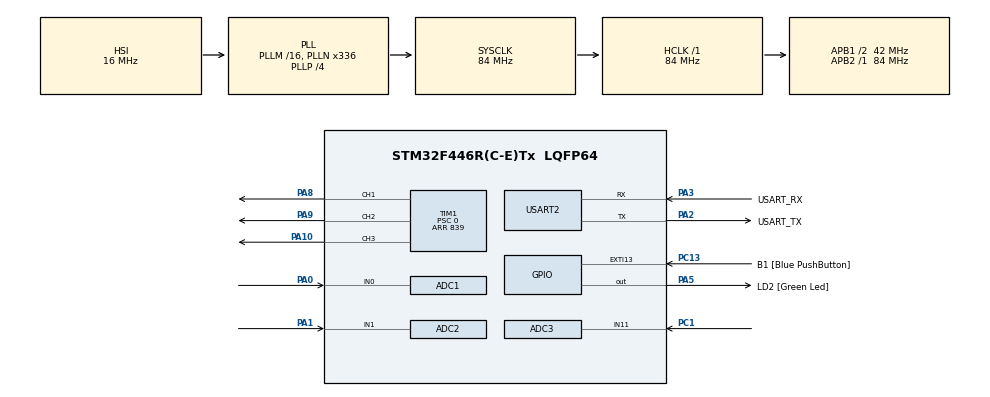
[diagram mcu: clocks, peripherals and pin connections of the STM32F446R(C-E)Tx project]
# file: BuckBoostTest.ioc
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ADC1.Channel-0\#ChannelRegularConversion=ADC_CHANNEL_0
ADC1.ContinuousConvMode=DISABLE
ADC1.DMAAccessMode=ADC_DMAACCESSMODE_2
ADC1.DMAContinuousRequests=ENABLE
ADC1.ExternalTrigConv=ADC_EXTERNALTRIGCONV_T1_CC1
ADC1.Mode=ADC_DUALMODE_REGSIMULT
ADC1.NbrOfConversion=1
ADC1.NbrOfConversionFlag=1
ADC1.Rank-0\#ChannelRegularConversion=1
ADC1.SamplingTime-0\#ChannelRegularConversion=ADC_SAMPLETIME_28CYCLES
ADC1.ScanConvMode=DISABLE
ADC1.TwoSamplingDelay=ADC_TWOSAMPLINGDELAY_5CYCLES
ADC1.master=1
ADC2.Channel-0\#ChannelRegularConversion=ADC_CHANNEL_1
ADC2.DMAAccessMode=ADC_DMAACCESSMODE_2
ADC2.Mode=ADC_DUALMODE_REGSIMULT
ADC2.NbrOfConversionFlag=1
ADC2.Rank-0\#ChannelRegularConversion=1
ADC2.SamplingTime-0\#ChannelRegularConversion=ADC_SAMPLETIME_28CYCLES
ADC3.Channel-0\#ChannelRegularConversion=ADC_CHANNEL_11
ADC3.ContinuousConvMode=DISABLE
ADC3.NbrOfConversionFlag=1
ADC3.Rank-0\#ChannelRegularConversion=1
ADC3.SamplingTime-0\#ChannelRegularConversion=ADC_SAMPLETIME_480CYCLES
Dma.ADC1.0.Direction=DMA_PERIPH_TO_MEMORY
Dma.ADC1.0.FIFOMode=DMA_FIFOMODE_DISABLE
Dma.ADC1.0.Instance=DMA2_Stream0
Dma.ADC1.0.MemDataAlignment=DMA_MDATAALIGN_WORD
Dma.ADC1.0.MemInc=DMA_MINC_ENABLE
Dma.ADC1.0.Mode=DMA_CIRCULAR
Dma.ADC1.0.PeriphDataAlignment=DMA_PDATAALIGN_WORD
Dma.ADC1.0.PeriphInc=DMA_PINC_DISABLE
Dma.ADC1.0.Priority=DMA_PRIORITY_LOW
Dma.Request0=ADC1
Mcu.Family=STM32F4
Mcu.Name=STM32F446R(C-E)Tx
Mcu.Package=LQFP64
NVIC.DMA2_Stream0_IRQn=true\:0\:0\:false\:false\:true\:false\:true\:true
NVIC.PriorityGroup=NVIC_PRIORITYGROUP_0
PA0-WKUP.Signal=ADCx_IN0
PA1.Signal=ADCx_IN1
PA10.Signal=S_TIM1_CH3
PA13.GPIO_Label=TMS
PA13.Mode=Serial_Wire
PA13.Signal=SYS_JTMS-SWDIO
PA14.GPIO_Label=TCK
PA14.Mode=Serial_Wire
PA14.Signal=SYS_JTCK-SWCLK
PA2.GPIO_Label=USART_TX
PA2.Mode=Asynchronous
PA2.Signal=USART2_TX
PA3.GPIO_Label=USART_RX
PA3.Mode=Asynchronous
PA3.Signal=USART2_RX
PA5.GPIO_Label=LD2 [Green Led]
PA5.Signal=GPIO_Output
PA8.Signal=S_TIM1_CH1
PA9.Signal=S_TIM1_CH2
PB3.GPIO_Label=SWO
PB3.Signal=SYS_JTDO-SWO
PC1.Signal=ADCx_IN11
PC13.GPIO_Label=B1 [Blue PushButton]
PC13.GPIO_ModeDefaultEXTI=GPIO_MODE_IT_FALLING
PC13.Signal=GPXTI13
PC14-OSC32_IN.Mode=LSE-External-Oscillator
PC14-OSC32_IN.Signal=RCC_OSC32_IN
PC15-OSC32_OUT.Mode=LSE-External-Oscillator
PC15-OSC32_OUT.Signal=RCC_OSC32_OUT
PH0-OSC_IN.Mode=HSE-External-Oscillator
PH0-OSC_IN.Signal=RCC_OSC_IN
PH1-OSC_OUT.Mode=HSE-External-Oscillator
PH1-OSC_OUT.Signal=RCC_OSC_OUT
ProjectManager.HeapSize=0x200
ProjectManager.StackSize=0x400
ProjectManager.TargetToolchain=STM32CubeIDE
RCC.48MHZClocksFreq_Value=84000000
RCC.AHBFreq_Value=84000000
RCC.APB1CLKDivider=RCC_HCLK_DIV2
RCC.APB1Freq_Value=42000000
RCC.APB1TimFreq_Value=84000000
RCC.APB2Freq_Value=84000000
RCC.APB2TimFreq_Value=84000000
RCC.CortexFreq_Value=84000000
RCC.FLatency-AdvancedSettings=FLASH_LATENCY_2
RCC.HCLKFreq_Value=84000000
RCC.HSE_VALUE=8000000
RCC.HSI_VALUE=16000000
RCC.PLLN=336
RCC.PLLP=RCC_PLLP_DIV4
RCC.SYSCLKFreq_VALUE=84000000
RCC.SYSCLKSource=RCC_SYSCLKSOURCE_PLLCLK
RCC.USBFreq_Value=168000000
RCC.VCOOutputFreq_Value=336000000
SH.ADCx_IN0.0=ADC1_IN0,IN0
SH.ADCx_IN1.0=ADC2_IN1,IN1
SH.ADCx_IN11.0=ADC3_IN11,IN11
SH.S_TIM1_CH1.0=TIM1_CH1,PWM Generation1 CH1
SH.S_TIM1_CH2.0=TIM1_CH2,PWM Generation2 CH2
SH.S_TIM1_CH3.0=TIM1_CH3,PWM Generation3 CH3
TIM1.Channel-Output\ Compare4\ No\ Output=TIM_CHANNEL_4
TIM1.Channel-PWM\ Generation1\ CH1=TIM_CHANNEL_1
TIM1.Channel-PWM\ Generation2\ CH2=TIM_CHANNEL_2
TIM1.Channel-PWM\ Generation3\ CH3=TIM_CHANNEL_3
TIM1.OC4Preload=DISABLE
TIM1.OCMode_4=TIM_OCMODE_ACTIVE
TIM1.Period=839
TIM1.Prescaler=0
TIM1.Pulse-Output\ Compare4\ No\ Output=420
TIM1.TIM_MasterOutputTrigger=TIM_TRGO_OC1REF
TIM1.TIM_MasterSlaveMode=TIM_MASTERSLAVEMODE_ENABLE
USART2.VirtualMode=VM_ASYNC
VP_TIM1_VS_ClockSourceINT.Mode=Internal
VP_TIM1_VS_no_output4.Mode=Output Compare4 No Output
board=NUCLEO-F446RE

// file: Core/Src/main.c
/* USER CODE BEGIN Header */
/**
  ******************************************************************************
  * @file           : main.c
  * @brief          : Main program body
  ******************************************************************************
  * @attention
  *
  * Copyright (c) 2025 STMicroelectronics.
  * All rights reserved.
  *
  * This software is licensed under terms that can be found in the LICENSE file
  * in the root directory of this software component.
  * If no LICENSE file comes with this software, it is provided AS-IS.
  *
  ******************************************************************************
  */
/* USER CODE END Header */
#include "main.h"

/* USER CODE BEGIN Includes */
#include <stdio.h>
#include <string.h>
/* USER CODE END Includes */

ADC_HandleTypeDef hadc1;
ADC_HandleTypeDef hadc2;
ADC_HandleTypeDef hadc3;
DMA_HandleTypeDef hdma_adc1;

TIM_HandleTypeDef htim1;

UART_HandleTypeDef huart2;

/* USER CODE BEGIN PV */
#define ADC_BUF_LEN 64
#define ADC_MAX_COUNTS      4095.0f
#define ADC_VREF            3.3f      // STM32 VREF+ — used for ALL ADC conversions

/* Soil moisture sensor (DFRobot SEN0308 on PC3 / ADC3_IN11) */
#define MOISTURE_AIR_VALUE      3665   // CALIBRATE: raw ADC value in dry air
#define MOISTURE_WATER_VALUE    540   // CALIBRATE: raw ADC value submerged in water
#define MOISTURE_INTERVALS      ((MOISTURE_AIR_VALUE - MOISTURE_WATER_VALUE) / 3)

/* Pump speed control (M3 = TIM1 CH3) */
typedef enum {
    PUMP_OFF  = 0,
    PUMP_SLOW = 50,    // ~6V at 12V battery
    PUMP_FAST = 75,    // ~9V at 12V battery
    PUMP_FULL = 100    // 12V (demo only)
} PumpSpeed_t;

// Voltage sensor signal chain:
//   Vbus -> divider (R1=98.8k top, R2=10k bottom) -> ACPL-C87X (gain=1)
//        -> OPA237 diff amp (gain=1) -> STM32 ADC pin
// So: V_adc_pin = Vbus * R2 / (R1+R2) = Vbus / 10.88
#define VDIV_RTOP           98800.0f
#define VDIV_RBOT           10000.0f
#define VDIV_SCALE          ((VDIV_RTOP + VDIV_RBOT) / VDIV_RBOT)  // = 10.88
#define VOLTAGE_OFFSET      0.0002f   //

// Current sensor (ACS722, bidirectional, 3.3V supply):
//   VIOUT_Q = VCC/2 = 1.65V at zero current

#define ACS_ZERO_V          1.6328f   //
#define ACS_SENS_V_PER_A    0.2640f   // adjust if you have a different variant

static uint32_t override_until_tick = 0;

uint32_t adc_buffer[ADC_BUF_LEN];

volatile uint64_t v_sum = 0;
volatile uint64_t i_sum = 0;
volatile uint32_t sample_count = 0;

uint32_t last_print = 0;

/* =========================
 * Control mode selection
 * ========================= */

#define CONTROL_MANUAL             0
#define CONTROL_IV_SWEEP           1
#define CONTROL_MPPT               2
#define CONTROL_SOIL_ONLY          3
#define CONTROL_MPPT_AND_SOIL      4

/*
 * Select your current operating mode here.
 *
 * CONTROL_MANUAL:
 *      M1/M2/M3 use manual duty values.
 *
 * CONTROL_IV_SWEEP:
 *      M1/M2 sweep through iv_duty_list.
 *      M3 is pump off for safety.
 *
 * CONTROL_MPPT:
 *      MPPT will control M1/M2.
 *      M3 uses manual duty unless ENABLE_SOIL_MOISTURE is 1.
 *
 * CONTROL_SOIL_ONLY:
 *      M1/M2 manual.
 *      M3 controlled by soil moisture.
 *
 * CONTROL_MPPT_AND_SOIL:
 *      MPPT controls M1/M2.
 *      Soil moisture controls M3.
 */
#define CONTROL_MODE CONTROL_MPPT

/*
 * Independent enable for soil moisture pump control.
 * This is automatically used in CONTROL_SOIL_ONLY and CONTROL_MPPT_AND_SOIL.
 * You can also enable it with CONTROL_MPPT if desired.
 */
#define ENABLE_SOIL_MOISTURE      0

/* Manual duty settings */
#define MANUAL_M1_DUTY            30u
#define MANUAL_M2_DUTY            30u
#define MANUAL_M3_DUTY            70u

/* Live sensor print timing */
#define SENSOR_PRINT_TIME_MS      500u

/* =========================
 * Automatic IV sweep settings
 * ========================= */

#define IV_SETTLE_TIME_MS         500u
#define IV_MEASURE_TIME_MS        1000u

static const uint8_t iv_duty_list[] = {
	93, 81, 72, 65, 59,
    55, 52, 50, 48, 46,
    45, 44, 43, 42, 41,
    40, 39, 38, 37, 36,
    35, 34, 33, 32, 30
};

#define IV_NUM_POINTS   (sizeof(iv_duty_list) / sizeof(iv_duty_list[0]))

typedef enum {
    IV_SWEEP_IDLE = 0,
    IV_SWEEP_SET_DUTY,
    IV_SWEEP_SETTLE,
    IV_SWEEP_MEASURE,
    IV_SWEEP_PRINT,
    IV_SWEEP_DONE
} IV_SweepState_t;

static IV_SweepState_t iv_state = IV_SWEEP_SET_DUTY;
static uint32_t iv_state_tick = 0;
static uint8_t iv_index = 0;

/* Sums used only for one sweep operating point */
static uint64_t iv_v_sum = 0;
static uint64_t iv_i_sum = 0;
static uint32_t iv_count = 0;

/* Latest soil moisture / pump status */
static uint16_t latest_moisture_raw = 0;
static const char* latest_moisture_label = "N/A";
static PumpSpeed_t latest_pump_speed = PUMP_OFF;
static uint8_t soil_data_valid = 0;

/* =========================
 * MPPT placeholder variables
 * ========================= */

/* =========================
 * MPPT Perturb & Observe settings
 * ========================= */

#define MPPT_UPDATE_TIME_MS       500u

#define MPPT_DUTY_MIN             30u
#define MPPT_DUTY_MAX             93u
#define MPPT_DUTY_START           45u
#define MPPT_DUTY_STEP            1u

#define MPPT_TRACK_DURATION_MS        20000u
#define MPPT_FINAL_AVG_WINDOW_MS      5000u
#define MPPT_TRACK_SETTLE_MS          500u

/*
 * Small threshold to avoid reacting to sensor noise.
 * If power change is smaller than this, duty is not changed.
 */
#define MPPT_POWER_DEADBAND_W     0.03f

static uint8_t mppt_duty = MPPT_DUTY_START;
static int8_t mppt_direction = 1;   // +1 means increase duty, -1 means decrease duty
static float mppt_prev_power = 0.0f;
static float mppt_prev_voltage = 0.0f;
static float mppt_prev_current = 0.0f;
static uint8_t mppt_initialized = 0;
static uint32_t last_mppt_tick = 0;

/* USER CODE END PV */

void SystemClock_Config(void);
static void MX_GPIO_Init(void);
static void MX_DMA_Init(void);
static void MX_USART2_UART_Init(void);
static void MX_TIM1_Init(void);
static void MX_ADC1_Init(void);
static void MX_ADC2_Init(void);
static void MX_ADC3_Init(void);
/* USER CODE BEGIN PFP */

void find_calibration_values(void);
void find_moisture_calibration(void);

void Set_Converter_Duty(uint8_t duty_percent);
void Set_Manual_Duties(void);
void Read_Panel_Sensors(float *panel_voltage,
                        float *panel_current,
                        float *panel_power,
                        float *v_pin_out,
                        uint32_t *sample_n);
void Print_Panel_Sensors(void);
void Run_IV_Sweep(void);
void Run_MPPT(void);
void Run_Soil_Moisture_Control(void);
void track_mpp_20_seconds(uint8_t start_duty);

/* USER CODE END PFP */

/* USER CODE BEGIN 0 */
void Process_ADC_Buffer(uint32_t *buffer, uint32_t length)
{
    for (uint32_t n = 0; n < length; n++)
    {
        uint32_t combined = buffer[n];

        uint16_t voltage_raw = combined & 0xFFFF;
        uint16_t current_raw = (combined >> 16) & 0xFFFF;

        v_sum += voltage_raw;
        i_sum += current_raw;
        sample_count++;
    }
}

uint16_t Read_Moisture(void)
{
    // Clear any leftover OVR/EOC flags from the previous conversion
    ADC3->SR = 0;

    // Manually trigger a single conversion
    ADC3->CR2 |= ADC_CR2_SWSTART;

    // Wait for conversion to complete (with timeout)
    uint32_t timeout = HAL_GetTick() + 10;
    while ((ADC3->SR & ADC_SR_EOC) == 0)
    {
        if (HAL_GetTick() > timeout) {
            return 0xFFFF;  // timeout sentinel
        }
    }

    // Read the value (this also clears EOC automatically)
    return (uint16_t)ADC3->DR;
}

const char* Classify_Moisture(uint16_t value)
{
    if (value > MOISTURE_AIR_VALUE)
        return "Very Dry / Air";
    if (value > (MOISTURE_AIR_VALUE - MOISTURE_INTERVALS))
        return "Dry";
    if (value > (MOISTURE_WATER_VALUE + MOISTURE_INTERVALS))
        return "Wet";
    if (value > MOISTURE_WATER_VALUE)
        return "Very Wet";
    return "Submerged";
}

PumpSpeed_t Decide_Pump_Speed(uint16_t moisture_raw)
{
    const uint16_t AIR_MARGIN = 100;  // counts of margin below air calibration

    // Sensor in dry air (or above) -> pump off (safety)
    if (moisture_raw >= (MOISTURE_AIR_VALUE - AIR_MARGIN))   return PUMP_OFF;

    // Below water calibration -> already submerged, pump off (safety)
    if (moisture_raw < MOISTURE_WATER_VALUE) return PUMP_OFF;

    // Within calibrated range -> decide based on dryness
    if (moisture_raw > (MOISTURE_AIR_VALUE - MOISTURE_INTERVALS)) {
        return PUMP_FAST;     // Dry soil
    }
    if (moisture_raw > (MOISTURE_WATER_VALUE + MOISTURE_INTERVALS)) {
        return PUMP_SLOW;     // Moist soil
    }
    return PUMP_OFF;          // Already wet enough
}

void Set_Pump_Speed(PumpSpeed_t speed)
{
    uint32_t arr = __HAL_TIM_GET_AUTORELOAD(&htim1);
    __HAL_TIM_SET_COMPARE(&htim1, TIM_CHANNEL_3, ((uint32_t)speed * arr) / 100);
}

void Set_Converter_Duty(uint8_t duty_percent)
{
    if (duty_percent > 100) {
        duty_percent = 100;
    }

    uint32_t arr = __HAL_TIM_GET_AUTORELOAD(&htim1);

    /*
     * MPPT and IV sweep both control M1 and M2 together.
     */
    __HAL_TIM_SET_COMPARE(&htim1, TIM_CHANNEL_1, ((uint32_t)duty_percent * arr) / 100);
    __HAL_TIM_SET_COMPARE(&htim1, TIM_CHANNEL_2, ((uint32_t)duty_percent * arr) / 100);
}

void Set_Manual_Duties(void)
{
    uint32_t arr = __HAL_TIM_GET_AUTORELOAD(&htim1);

    __HAL_TIM_SET_COMPARE(&htim1, TIM_CHANNEL_1, ((uint32_t)MANUAL_M1_DUTY * arr) / 100);
    __HAL_TIM_SET_COMPARE(&htim1, TIM_CHANNEL_2, ((uint32_t)MANUAL_M2_DUTY * arr) / 100);
    __HAL_TIM_SET_COMPARE(&htim1, TIM_CHANNEL_3, ((uint32_t)MANUAL_M3_DUTY * arr) / 100);
}

void Read_Panel_Sensors(float *panel_voltage,
                        float *panel_current,
                        float *panel_power,
                        float *v_pin_out,
                        uint32_t *sample_n)
{
    __disable_irq();
    uint64_t v_sum_copy = v_sum;
    uint64_t i_sum_copy = i_sum;
    uint32_t count_copy = sample_count;

    v_sum = 0;
    i_sum = 0;
    sample_count = 0;
    __enable_irq();

    if (sample_n != NULL) {
        *sample_n = count_copy;
    }

    if (count_copy == 0)
    {
        if (panel_voltage != NULL) *panel_voltage = 0.0f;
        if (panel_current != NULL) *panel_current = 0.0f;
        if (panel_power   != NULL) *panel_power   = 0.0f;
        if (v_pin_out     != NULL) *v_pin_out     = 0.0f;
        return;
    }

    float v_adc_avg = (float)v_sum_copy / (float)count_copy;
    float i_adc_avg = (float)i_sum_copy / (float)count_copy;

    float v_pin = (v_adc_avg / ADC_MAX_COUNTS) * ADC_VREF;
    float i_pin = (i_adc_avg / ADC_MAX_COUNTS) * ADC_VREF;

    float v_compensated = v_pin - VOLTAGE_OFFSET;
    float v_panel = v_compensated * VDIV_SCALE;

    float i_panel = (i_pin - ACS_ZERO_V) / ACS_SENS_V_PER_A;

    /*
     * If current polarity is reversed, use:
     * float i_panel = (ACS_ZERO_V - i_pin) / ACS_SENS_V_PER_A;
     */

    float p_panel = v_panel * i_panel;

    if (panel_voltage != NULL) *panel_voltage = v_panel;
    if (panel_current != NULL) *panel_current = i_panel;
    if (panel_power   != NULL) *panel_power   = p_panel;
    if (v_pin_out     != NULL) *v_pin_out     = v_pin;
}

void Print_Panel_Sensors(void)
{
    if ((HAL_GetTick() - last_print) >= SENSOR_PRINT_TIME_MS)
    {
        float panel_voltage = 0.0f;
        float panel_current = 0.0f;
        float panel_power = 0.0f;
        uint32_t sample_n = 0;

        Read_Panel_Sensors(&panel_voltage,
                           &panel_current,
                           &panel_power,
                           NULL,
                           &sample_n);

        if (sample_n > 0)
        {
            char msg[240];

#if (CONTROL_MODE == CONTROL_SOIL_ONLY) || (CONTROL_MODE == CONTROL_MPPT_AND_SOIL) || ((CONTROL_MODE == CONTROL_MPPT) && ENABLE_SOIL_MOISTURE)

            if (soil_data_valid)
            {
                snprintf(msg, sizeof(msg),
                         "Vpanel: %.2f V, I: %.3f A, P: %.2f W | Moisture: %u (%s) | Pump: %u%% (n=%lu)\r\n",
                         panel_voltage,
                         panel_current,
                         panel_power,
                         latest_moisture_raw,
                         latest_moisture_label,
                         (unsigned int)latest_pump_speed,
                         (unsigned long)sample_n);
            }
            else
            {
                snprintf(msg, sizeof(msg),
                         "Vpanel: %.2f V, I: %.3f A, P: %.2f W | Moisture: waiting... (n=%lu)\r\n",
                         panel_voltage,
                         panel_current,
                         panel_power,
                         (unsigned long)sample_n);
            }

#else

            snprintf(msg, sizeof(msg),
                     "D: %u%%, Vpanel: %.2f V, I: %.3f A, P: %.2f W (n=%lu)\r\n",
                     (unsigned int)mppt_duty,
                     panel_voltage,
                     panel_current,
                     panel_power,
                     (unsigned long)sample_n);

#endif

            HAL_UART_Transmit(&huart2, (uint8_t*)msg, strlen(msg), 100);
        }

        last_print = HAL_GetTick();
    }
}

void Run_Soil_Moisture_Control(void)
{
    static uint32_t last_soil_tick = 0;

    /*
     * Soil moisture does not need to run very fast.
     * 500 ms is enough for pump control.
     */
    if ((HAL_GetTick() - last_soil_tick) >= 500u)
    {
    	uint16_t moisture_raw = Read_Moisture();
    	const char* moisture_label = Classify_Moisture(moisture_raw);

    	PumpSpeed_t pump_speed;

    	if (HAL_GPIO_ReadPin(B1_GPIO_Port, B1_Pin) == GPIO_PIN_RESET)
    	{
    	    override_until_tick = HAL_GetTick() + 5000;
    	}

    	if (HAL_GetTick() < override_until_tick)
    	{
    	    pump_speed = PUMP_FULL;
    	    HAL_GPIO_WritePin(LD2_GPIO_Port, LD2_Pin, GPIO_PIN_SET);
    	}
    	else
    	{
    	    pump_speed = Decide_Pump_Speed(moisture_raw);
    	    HAL_GPIO_WritePin(LD2_GPIO_Port, LD2_Pin, GPIO_PIN_RESET);
    	}

    	Set_Pump_Speed(pump_speed);

    	/* Save latest soil/pump values for printing */
    	latest_moisture_raw = moisture_raw;
    	latest_moisture_label = moisture_label;
    	latest_pump_speed = pump_speed;
    	soil_data_valid = 1;

    	last_soil_tick = HAL_GetTick();
    }
}

void Run_MPPT(void)
{
    if ((HAL_GetTick() - last_mppt_tick) >= MPPT_UPDATE_TIME_MS)
    {
        float panel_voltage = 0.0f;
        float panel_current = 0.0f;
        float panel_power = 0.0f;
        uint32_t sample_n = 0;

        /*
         * Read latest averaged panel sensors.
         * v_pin is not needed here, so pass NULL.
         */
        Read_Panel_Sensors(&panel_voltage,
                           &panel_current,
                           &panel_power,
                           NULL,
                           &sample_n);

        if (sample_n > 0)
        {
            if (!mppt_initialized)
            {
                /*
                 * First MPPT sample: store initial values and apply starting duty.
                 */
                mppt_prev_power = panel_power;
                mppt_prev_voltage = panel_voltage;
                mppt_prev_current = panel_current;
                mppt_initialized = 1;

                Set_Converter_Duty(mppt_duty);
            }
            else
            {
                float delta_p = panel_power - mppt_prev_power;

                /*
                 * Perturb & Observe:
                 * If power increased, keep perturbing in the same duty direction.
                 * If power decreased, reverse perturbation direction.
                 */
                if (delta_p > MPPT_POWER_DEADBAND_W)
                {
                    /* Power increased: keep same direction */
                }
                else if (delta_p < -MPPT_POWER_DEADBAND_W)
                {
                    /* Power decreased: reverse direction */
                    mppt_direction = -mppt_direction;
                }
                else
                {
                    /*
                     * Power change is tiny, likely sensor noise.
                     * Do not change direction.
                     */
                }

                int16_t next_duty = (int16_t)mppt_duty +
                                    ((int16_t)mppt_direction * (int16_t)MPPT_DUTY_STEP);

                if (next_duty > MPPT_DUTY_MAX)
                {
                    next_duty = MPPT_DUTY_MAX;
                    mppt_direction = -1;
                }
                else if (next_duty < MPPT_DUTY_MIN)
                {
                    next_duty = MPPT_DUTY_MIN;
                    mppt_direction = 1;
                }

                mppt_duty = (uint8_t)next_duty;
                Set_Converter_Duty(mppt_duty);

                mppt_prev_power = panel_power;
                mppt_prev_voltage = panel_voltage;
                mppt_prev_current = panel_current;
            }

            char msg[180];
            snprintf(msg, sizeof(msg),
                     "MPPT: D=%u%%, V=%.2f V, I=%.3f A, P=%.2f W, dir=%d, n=%lu\r\n",
                     (unsigned int)mppt_duty,
                     panel_voltage,
                     panel_current,
                     panel_power,
                     (int)mppt_direction,
                     (unsigned long)sample_n);
            HAL_UART_Transmit(&huart2, (uint8_t*)msg, strlen(msg), 100);
        }

        last_mppt_tick = HAL_GetTick();
    }
}

void Run_IV_Sweep(void)
{
    switch (iv_state)
    {
        case IV_SWEEP_SET_DUTY:
        {
            if (iv_index >= IV_NUM_POINTS)
            {
                iv_state = IV_SWEEP_DONE;
                break;
            }

            uint8_t duty = iv_duty_list[iv_index];
            Set_Converter_Duty(duty);

            /*
             * Keep pump off during IV sweep for cleaner measurements.
             */
            Set_Pump_Speed(PUMP_OFF);

            char msg[120];
            snprintf(msg, sizeof(msg),
                     "\r\nSetting point %u/%u, duty = %u%%\r\n",
                     (unsigned int)(iv_index + 1),
                     (unsigned int)IV_NUM_POINTS,
                     (unsigned int)duty);
            HAL_UART_Transmit(&huart2, (uint8_t*)msg, strlen(msg), 100);

            iv_state_tick = HAL_GetTick();
            iv_state = IV_SWEEP_SETTLE;
            break;
        }

        case IV_SWEEP_SETTLE:
        {
            if ((HAL_GetTick() - iv_state_tick) >= IV_SETTLE_TIME_MS)
            {
                __disable_irq();
                v_sum = 0;
                i_sum = 0;
                sample_count = 0;
                __enable_irq();

                iv_state_tick = HAL_GetTick();
                iv_state = IV_SWEEP_MEASURE;
            }
            break;
        }

        case IV_SWEEP_MEASURE:
        {
            if ((HAL_GetTick() - iv_state_tick) >= IV_MEASURE_TIME_MS)
            {
                __disable_irq();
                iv_v_sum = v_sum;
                iv_i_sum = i_sum;
                iv_count = sample_count;

                v_sum = 0;
                i_sum = 0;
                sample_count = 0;
                __enable_irq();

                iv_state = IV_SWEEP_PRINT;
            }
            break;
        }

        case IV_SWEEP_PRINT:
        {
            uint8_t duty = iv_duty_list[iv_index];

            if (iv_count > 0)
            {
                float v_adc_avg = (float)iv_v_sum / (float)iv_count;
                float i_adc_avg = (float)iv_i_sum / (float)iv_count;

                float v_pin = (v_adc_avg / ADC_MAX_COUNTS) * ADC_VREF;
                float i_pin = (i_adc_avg / ADC_MAX_COUNTS) * ADC_VREF;

                float v_compensated = v_pin - VOLTAGE_OFFSET;
                float panel_voltage = v_compensated * VDIV_SCALE;

                float panel_current = (i_pin - ACS_ZERO_V) / ACS_SENS_V_PER_A;
                float panel_power = panel_voltage * panel_current;

                char msg[220];
                snprintf(msg, sizeof(msg),
                         "%u,%u,%.3f,%.4f,%.4f,%lu\r\n",
                         (unsigned int)(iv_index + 1),
                         (unsigned int)duty,
                         panel_voltage,
                         panel_current,
                         panel_power,
                         (unsigned long)iv_count);
                HAL_UART_Transmit(&huart2, (uint8_t*)msg, strlen(msg), 100);
            }
            else
            {
                char msg[120];
                snprintf(msg, sizeof(msg),
                         "%u,%u,NO_SAMPLES,NO_SAMPLES,NO_SAMPLES,0\r\n",
                         (unsigned int)(iv_index + 1),
                         (unsigned int)duty);
                HAL_UART_Transmit(&huart2, (uint8_t*)msg, strlen(msg), 100);
            }

            iv_index++;

            if (iv_index < IV_NUM_POINTS)
            {
                iv_state = IV_SWEEP_SET_DUTY;
            }
            else
            {
                iv_state = IV_SWEEP_DONE;

                char msg[] = "\r\nIV sweep complete.\r\n";
                HAL_UART_Transmit(&huart2, (uint8_t*)msg, strlen(msg), 100);
            }

            break;
        }

        case IV_SWEEP_DONE:
        {
            /*
             * Leave final duty applied, or uncomment to turn converter off.
             */
            // Set_Converter_Duty(0);
            break;
        }

        default:
        {
            iv_state = IV_SWEEP_DONE;
            break;
        }
    }
}

/* USER CODE END 0 */

int main(void)
{

  /* MCU Configuration--------------------------------------------------------*/

  /* Reset of all peripherals, Initializes the Flash interface and the Systick. */
  HAL_Init();

  /* Configure the system clock */
  SystemClock_Config();

  /* Initialize all configured peripherals */
  MX_GPIO_Init();
  MX_DMA_Init();
  MX_USART2_UART_Init();
  MX_TIM1_Init();
  MX_ADC1_Init();
  MX_ADC2_Init();
  MX_ADC3_Init();
  /* USER CODE BEGIN 2 */

  char msg[] = "UART WORKING\r\n";
  HAL_UART_Transmit(&huart2, (uint8_t*)msg, strlen(msg), 100);

  // Start timer base
  HAL_TIM_Base_Start(&htim1);

  // Start PWM on all 3 channels
  HAL_TIM_PWM_Start(&htim1, TIM_CHANNEL_1);
  HAL_TIM_PWM_Start(&htim1, TIM_CHANNEL_2);
  HAL_TIM_PWM_Start(&htim1, TIM_CHANNEL_3);

  Set_Pump_Speed(PUMP_OFF);  //
  HAL_TIM_OC_Start(&htim1, TIM_CHANNEL_1);

  HAL_ADC_Start(&hadc1);  // Start ADC1 first
  HAL_ADC_Start(&hadc2);  // Start ADC2

  if (HAL_ADCEx_MultiModeStart_DMA(&hadc1, adc_buffer, ADC_BUF_LEN) != HAL_OK)
  {
      Error_Handler();
  }
  HAL_ADC_Start(&hadc3); // Start ADC3

  // Initial duty setup

  Set_Manual_Duties();

  #if CONTROL_MODE == CONTROL_IV_SWEEP
  char csv_header[] = "\r\nPoint,Duty_percent,Vpanel_V,Ipanel_A,Ppanel_W,Samples\r\n";
  HAL_UART_Transmit(&huart2, (uint8_t*)csv_header, strlen(csv_header), 100);
  #endif

  // find_calibration_values();
  // find_moisture_calibration();
  track_mpp_20_seconds(35);

  /* USER CODE END 2 */

  /* Infinite loop */
  /* USER CODE BEGIN WHILE */
  while (1)
  {
    /* USER CODE BEGIN 3 */

  #if CONTROL_MODE == CONTROL_MANUAL

      /*
       * Manual mode:
       * M1, M2, and M3 are set by MANUAL_M1_DUTY,
       * MANUAL_M2_DUTY, and MANUAL_M3_DUTY.
       */
      Set_Manual_Duties();
      Print_Panel_Sensors();

  #elif CONTROL_MODE == CONTROL_IV_SWEEP

      /*
       * IV sweep mode:
       * M1/M2 are swept through iv_duty_list.
       * M3 is kept off inside Run_IV_Sweep().
       */
      Run_IV_Sweep();

  #elif CONTROL_MODE == CONTROL_MPPT

      /*
       * MPPT mode:
       * MPPT controls M1/M2.
       * M3 stays manual unless ENABLE_SOIL_MOISTURE is set.
       */
      Run_MPPT();

      #if ENABLE_SOIL_MOISTURE
          Run_Soil_Moisture_Control();
      #else
          Set_Pump_Speed((PumpSpeed_t)MANUAL_M3_DUTY);
      #endif

  #elif CONTROL_MODE == CONTROL_SOIL_ONLY

      /*
       * Soil-only mode:
       * M1/M2 are manual.
       * M3 is controlled by soil moisture.
       */
      Set_Converter_Duty(MANUAL_M1_DUTY);
      Run_Soil_Moisture_Control();
      Print_Panel_Sensors();

  #elif CONTROL_MODE == CONTROL_MPPT_AND_SOIL

      /*
       * Combined final mode:
       * MPPT controls M1/M2.
       * Soil moisture controls M3.
       */
      Run_MPPT();
      Run_Soil_Moisture_Control();
      Print_Panel_Sensors();

  #else

      /*
       * Fallback safety mode.
       */
      Set_Converter_Duty(0);
      Set_Pump_Speed(PUMP_OFF);

  #endif

    /* USER CODE END 3 */
  }
    /* USER CODE END WHILE */
}

void SystemClock_Config(void)
{
  RCC_OscInitTypeDef RCC_OscInitStruct = {0};
  RCC_ClkInitTypeDef RCC_ClkInitStruct = {0};

  /** Configure the main internal regulator output voltage
  */
  __HAL_RCC_PWR_CLK_ENABLE();
  __HAL_PWR_VOLTAGESCALING_CONFIG(PWR_REGULATOR_VOLTAGE_SCALE3);

  /** Initializes the RCC Oscillators according to the specified parameters
  * in the RCC_OscInitTypeDef structure.
  */
  RCC_OscInitStruct.OscillatorType = RCC_OSCILLATORTYPE_HSI;
  RCC_OscInitStruct.HSIState = RCC_HSI_ON;
  RCC_OscInitStruct.HSICalibrationValue = RCC_HSICALIBRATION_DEFAULT;
  RCC_OscInitStruct.PLL.PLLState = RCC_PLL_ON;
  RCC_OscInitStruct.PLL.PLLSource = RCC_PLLSOURCE_HSI;
  RCC_OscInitStruct.PLL.PLLM = 16;
  RCC_OscInitStruct.PLL.PLLN = 336;
  RCC_OscInitStruct.PLL.PLLP = RCC_PLLP_DIV4;
  RCC_OscInitStruct.PLL.PLLQ = 2;
  RCC_OscInitStruct.PLL.PLLR = 2;
  if (HAL_RCC_OscConfig(&RCC_OscInitStruct) != HAL_OK)
  {
    Error_Handler();
  }

  /** Initializes the CPU, AHB and APB buses clocks
  */
  RCC_ClkInitStruct.ClockType = RCC_CLOCKTYPE_HCLK|RCC_CLOCKTYPE_SYSCLK
                              |RCC_CLOCKTYPE_PCLK1|RCC_CLOCKTYPE_PCLK2;
  RCC_ClkInitStruct.SYSCLKSource = RCC_SYSCLKSOURCE_PLLCLK;
  RCC_ClkInitStruct.AHBCLKDivider = RCC_SYSCLK_DIV1;
  RCC_ClkInitStruct.APB1CLKDivider = RCC_HCLK_DIV2;
  RCC_ClkInitStruct.APB2CLKDivider = RCC_HCLK_DIV1;

  if (HAL_RCC_ClockConfig(&RCC_ClkInitStruct, FLASH_LATENCY_2) != HAL_OK)
  {
    Error_Handler();
  }
}

static void MX_ADC1_Init(void)
{

  ADC_MultiModeTypeDef multimode = {0};
  ADC_ChannelConfTypeDef sConfig = {0};

  /** Configure the global features of the ADC (Clock, Resolution, Data Alignment and number of conversion)
  */
  hadc1.Instance = ADC1;
  hadc1.Init.ClockPrescaler = ADC_CLOCK_SYNC_PCLK_DIV4;
  hadc1.Init.Resolution = ADC_RESOLUTION_12B;
  hadc1.Init.ScanConvMode = DISABLE;
  hadc1.Init.ContinuousConvMode = DISABLE;
  hadc1.Init.DiscontinuousConvMode = DISABLE;
  hadc1.Init.ExternalTrigConvEdge = ADC_EXTERNALTRIGCONVEDGE_RISING;
  hadc1.Init.ExternalTrigConv = ADC_EXTERNALTRIGCONV_T1_CC1;
  hadc1.Init.DataAlign = ADC_DATAALIGN_RIGHT;
  hadc1.Init.NbrOfConversion = 1;
  hadc1.Init.DMAContinuousRequests = ENABLE;
  hadc1.Init.EOCSelection = ADC_EOC_SINGLE_CONV;
  if (HAL_ADC_Init(&hadc1) != HAL_OK)
  {
    Error_Handler();
  }

  /** Configure the ADC multi-mode
  */
  multimode.Mode = ADC_DUALMODE_REGSIMULT;
  multimode.DMAAccessMode = ADC_DMAACCESSMODE_2;
  multimode.TwoSamplingDelay = ADC_TWOSAMPLINGDELAY_5CYCLES;
  if (HAL_ADCEx_MultiModeConfigChannel(&hadc1, &multimode) != HAL_OK)
  {
    Error_Handler();
  }

  /** Configure for the selected ADC regular channel its corresponding rank in the sequencer and its sample time.
  */
  sConfig.Channel = ADC_CHANNEL_0;
  sConfig.Rank = 1;
  sConfig.SamplingTime = ADC_SAMPLETIME_28CYCLES;
  if (HAL_ADC_ConfigChannel(&hadc1, &sConfig) != HAL_OK)
  {
    Error_Handler();
  }

}

static void MX_ADC2_Init(void)
{

  ADC_ChannelConfTypeDef sConfig = {0};

  /** Configure the global features of the ADC (Clock, Resolution, Data Alignment and number of conversion)
  */
  hadc2.Instance = ADC2;
  hadc2.Init.ClockPrescaler = ADC_CLOCK_SYNC_PCLK_DIV4;
  hadc2.Init.Resolution = ADC_RESOLUTION_12B;
  hadc2.Init.ScanConvMode = DISABLE;
  hadc2.Init.ContinuousConvMode = DISABLE;
  hadc2.Init.DiscontinuousConvMode = DISABLE;
  hadc2.Init.DataAlign = ADC_DATAALIGN_RIGHT;
  hadc2.Init.NbrOfConversion = 1;
  hadc2.Init.DMAContinuousRequests = DISABLE;
  hadc2.Init.EOCSelection = ADC_EOC_SINGLE_CONV;
  if (HAL_ADC_Init(&hadc2) != HAL_OK)
  {
    Error_Handler();
  }

  /** Configure for the selected ADC regular channel its corresponding rank in the sequencer and its sample time.
  */
  sConfig.Channel = ADC_CHANNEL_1;
  sConfig.Rank = 1;
  sConfig.SamplingTime = ADC_SAMPLETIME_28CYCLES;
  if (HAL_ADC_ConfigChannel(&hadc2, &sConfig) != HAL_OK)
  {
    Error_Handler();
  }

}

static void MX_ADC3_Init(void)
{

  ADC_ChannelConfTypeDef sConfig = {0};

  /** Configure the global features of the ADC (Clock, Resolution, Data Alignment and number of conversion)
  */
  hadc3.Instance = ADC3;
  hadc3.Init.ClockPrescaler = ADC_CLOCK_SYNC_PCLK_DIV4;
  hadc3.Init.Resolution = ADC_RESOLUTION_12B;
  hadc3.Init.ScanConvMode = DISABLE;
  hadc3.Init.ContinuousConvMode = DISABLE;
  hadc3.Init.DiscontinuousConvMode = DISABLE;
  hadc3.Init.ExternalTrigConvEdge = ADC_EXTERNALTRIGCONVEDGE_NONE;
  hadc3.Init.ExternalTrigConv = ADC_SOFTWARE_START;
  hadc3.Init.DataAlign = ADC_DATAALIGN_RIGHT;
  hadc3.Init.NbrOfConversion = 1;
  hadc3.Init.DMAContinuousRequests = DISABLE;
  hadc3.Init.EOCSelection = ADC_EOC_SINGLE_CONV;
  if (HAL_ADC_Init(&hadc3) != HAL_OK)
  {
    Error_Handler();
  }

  /** Configure for the selected ADC regular channel its corresponding rank in the sequencer and its sample time.
  */
  sConfig.Channel = ADC_CHANNEL_11;
  sConfig.Rank = 1;
  sConfig.SamplingTime = ADC_SAMPLETIME_480CYCLES;
  if (HAL_ADC_ConfigChannel(&hadc3, &sConfig) != HAL_OK)
  {
    Error_Handler();
  }

}

static void MX_TIM1_Init(void)
{

  TIM_ClockConfigTypeDef sClockSourceConfig = {0};
  TIM_MasterConfigTypeDef sMasterConfig = {0};
  TIM_OC_InitTypeDef sConfigOC = {0};
  TIM_BreakDeadTimeConfigTypeDef sBreakDeadTimeConfig = {0};

  htim1.Instance = TIM1;
  htim1.Init.Prescaler = 0;
  htim1.Init.CounterMode = TIM_COUNTERMODE_UP;
  htim1.Init.Period = 839;
  htim1.Init.ClockDivision = TIM_CLOCKDIVISION_DIV1;
  htim1.Init.RepetitionCounter = 0;
  htim1.Init.AutoReloadPreload = TIM_AUTORELOAD_PRELOAD_DISABLE;
  if (HAL_TIM_Base_Init(&htim1) != HAL_OK)
  {
    Error_Handler();
  }
  sClockSourceConfig.ClockSource = TIM_CLOCKSOURCE_INTERNAL;
  if (HAL_TIM_ConfigClockSource(&htim1, &sClockSourceConfig) != HAL_OK)
  {
    Error_Handler();
  }
  if (HAL_TIM_PWM_Init(&htim1) != HAL_OK)
  {
    Error_Handler();
  }
  if (HAL_TIM_OC_Init(&htim1) != HAL_OK)
  {
    Error_Handler();
  }
  sMasterConfig.MasterOutputTrigger = TIM_TRGO_OC1REF;
  sMasterConfig.MasterSlaveMode = TIM_MASTERSLAVEMODE_ENABLE;
  if (HAL_TIMEx_MasterConfigSynchronization(&htim1, &sMasterConfig) != HAL_OK)
  {
    Error_Handler();
  }
  sConfigOC.OCMode = TIM_OCMODE_PWM1;
  sConfigOC.Pulse = 0;
  sConfigOC.OCPolarity = TIM_OCPOLARITY_HIGH;
  sConfigOC.OCNPolarity = TIM_OCNPOLARITY_HIGH;
  sConfigOC.OCFastMode = TIM_OCFAST_DISABLE;
  sConfigOC.OCIdleState = TIM_OCIDLESTATE_RESET;
  sConfigOC.OCNIdleState = TIM_OCNIDLESTATE_RESET;
  if (HAL_TIM_PWM_ConfigChannel(&htim1, &sConfigOC, TIM_CHANNEL_1) != HAL_OK)
  {
    Error_Handler();
  }
  if (HAL_TIM_PWM_ConfigChannel(&htim1, &sConfigOC, TIM_CHANNEL_2) != HAL_OK)
  {
    Error_Handler();
  }
  if (HAL_TIM_PWM_ConfigChannel(&htim1, &sConfigOC, TIM_CHANNEL_3) != HAL_OK)
  {
    Error_Handler();
  }
  sConfigOC.OCMode = TIM_OCMODE_ACTIVE;
  sConfigOC.Pulse = 420;
  if (HAL_TIM_OC_ConfigChannel(&htim1, &sConfigOC, TIM_CHANNEL_4) != HAL_OK)
  {
    Error_Handler();
  }
  sBreakDeadTimeConfig.OffStateRunMode = TIM_OSSR_DISABLE;
  sBreakDeadTimeConfig.OffStateIDLEMode = TIM_OSSI_DISABLE;
  sBreakDeadTimeConfig.LockLevel = TIM_LOCKLEVEL_OFF;
  sBreakDeadTimeConfig.DeadTime = 0;
  sBreakDeadTimeConfig.BreakState = TIM_BREAK_DISABLE;
  sBreakDeadTimeConfig.BreakPolarity = TIM_BREAKPOLARITY_HIGH;
  sBreakDeadTimeConfig.AutomaticOutput = TIM_AUTOMATICOUTPUT_DISABLE;
  if (HAL_TIMEx_ConfigBreakDeadTime(&htim1, &sBreakDeadTimeConfig) != HAL_OK)
  {
    Error_Handler();
  }
  HAL_TIM_MspPostInit(&htim1);

}

static void MX_USART2_UART_Init(void)
{

  huart2.Instance = USART2;
  huart2.Init.BaudRate = 115200;
  huart2.Init.WordLength = UART_WORDLENGTH_8B;
  huart2.Init.StopBits = UART_STOPBITS_1;
  huart2.Init.Parity = UART_PARITY_NONE;
  huart2.Init.Mode = UART_MODE_TX_RX;
  huart2.Init.HwFlowCtl = UART_HWCONTROL_NONE;
  huart2.Init.OverSampling = UART_OVERSAMPLING_16;
  if (HAL_UART_Init(&huart2) != HAL_OK)
  {
    Error_Handler();
  }

}

static void MX_DMA_Init(void)
{

  /* DMA controller clock enable */
  __HAL_RCC_DMA2_CLK_ENABLE();

  /* DMA interrupt init */
  /* DMA2_Stream0_IRQn interrupt configuration */
  HAL_NVIC_SetPriority(DMA2_Stream0_IRQn, 0, 0);
  HAL_NVIC_EnableIRQ(DMA2_Stream0_IRQn);

}

static void MX_GPIO_Init(void)
{
  GPIO_InitTypeDef GPIO_InitStruct = {0};

  /* GPIO Ports Clock Enable */
  __HAL_RCC_GPIOC_CLK_ENABLE();
  __HAL_RCC_GPIOH_CLK_ENABLE();
  __HAL_RCC_GPIOA_CLK_ENABLE();
  __HAL_RCC_GPIOB_CLK_ENABLE();

  /*Configure GPIO pin Output Level */
  HAL_GPIO_WritePin(LD2_GPIO_Port, LD2_Pin, GPIO_PIN_RESET);

  /*Configure GPIO pin : B1_Pin */
  GPIO_InitStruct.Pin = B1_Pin;
  GPIO_InitStruct.Mode = GPIO_MODE_IT_FALLING;
  GPIO_InitStruct.Pull = GPIO_NOPULL;
  HAL_GPIO_Init(B1_GPIO_Port, &GPIO_InitStruct);

  /*Configure GPIO pin : LD2_Pin */
  GPIO_InitStruct.Pin = LD2_Pin;
  GPIO_InitStruct.Mode = GPIO_MODE_OUTPUT_PP;
  GPIO_InitStruct.Pull = GPIO_NOPULL;
  GPIO_InitStruct.Speed = GPIO_SPEED_FREQ_LOW;
  HAL_GPIO_Init(LD2_GPIO_Port, &GPIO_InitStruct);

}

/* USER CODE BEGIN 4 */
void find_calibration_values(void)
{
    const uint32_t calibration_time_ms = 30000;  // 30 seconds
    uint32_t start_time = HAL_GetTick();

    char msg[160];

    snprintf(msg, sizeof(msg),
             "\r\nStarting calibration. Ensure NO voltage and NO current input.\r\n");
    HAL_UART_Transmit(&huart2, (uint8_t*)msg, strlen(msg), 100);

    /* Reset accumulators */
    __disable_irq();
    v_sum = 0;
    i_sum = 0;
    sample_count = 0;
    __enable_irq();

    /* Wait while ADC DMA callbacks collect samples */
    while ((HAL_GetTick() - start_time) < calibration_time_ms)
    {
        HAL_Delay(1000);

        snprintf(msg, sizeof(msg),
                 "Calibrating... %lu / 30 seconds\r\n",
                 (unsigned long)((HAL_GetTick() - start_time) / 1000));
        HAL_UART_Transmit(&huart2, (uint8_t*)msg, strlen(msg), 100);
    }

    // STOP THE TIMER AFTER CALIBRATION IF NEEDED
    // HAL_TIM_OC_Stop(&htim1, TIM_CHANNEL_1);

    /* Copy final accumulated values safely */
    __disable_irq();
    uint64_t v_sum_copy = v_sum;
    uint64_t i_sum_copy = i_sum;
    uint32_t count_copy = sample_count;
    __enable_irq();

    if (count_copy == 0)
    {
        snprintf(msg, sizeof(msg),
                 "Calibration failed: no ADC samples collected.\r\n");
        HAL_UART_Transmit(&huart2, (uint8_t*)msg, strlen(msg), 100);
        return;
    }

    float v_raw_avg = (float)v_sum_copy / (float)count_copy;
    float i_raw_avg = (float)i_sum_copy / (float)count_copy;

    float voltage_offset = (v_raw_avg / ADC_MAX_COUNTS) * ADC_VREF;
    float current_zero_v = (i_raw_avg / ADC_MAX_COUNTS) * ADC_VREF;

    snprintf(msg, sizeof(msg),
             "\r\nCalibration complete\r\n");
    HAL_UART_Transmit(&huart2, (uint8_t*)msg, strlen(msg), 100);

    snprintf(msg, sizeof(msg),
             "Voltage raw avg: %.2f counts\r\n", v_raw_avg);
    HAL_UART_Transmit(&huart2, (uint8_t*)msg, strlen(msg), 100);

    snprintf(msg, sizeof(msg),
             "Current raw avg: %.2f counts\r\n", i_raw_avg);
    HAL_UART_Transmit(&huart2, (uint8_t*)msg, strlen(msg), 100);

    snprintf(msg, sizeof(msg),
             "Use this VOLTAGE_OFFSET: %.4f\r\n", voltage_offset);
    HAL_UART_Transmit(&huart2, (uint8_t*)msg, strlen(msg), 100);

    snprintf(msg, sizeof(msg),
             "Use this ACS_ZERO_V: %.4f\r\n\r\n", current_zero_v);
    HAL_UART_Transmit(&huart2, (uint8_t*)msg, strlen(msg), 100);
}

void find_moisture_calibration(void)
{
    char msg[200];

    snprintf(msg, sizeof(msg),
             "\r\n=== Moisture Sensor Calibration ===\r\n"
             "Step 1: Hold sensor in DRY AIR for 10 seconds (starts in 3s)...\r\n");
    HAL_UART_Transmit(&huart2, (uint8_t*)msg, strlen(msg), 100);
    HAL_Delay(3000);

    uint32_t air_sum = 0, air_n = 0;
    uint32_t start = HAL_GetTick();
    while ((HAL_GetTick() - start) < 10000) {
        air_sum += Read_Moisture();
        air_n++;
        HAL_Delay(50);
    }
    uint16_t air_avg = (uint16_t)(air_sum / air_n);

    snprintf(msg, sizeof(msg),
             "AIR average: %u counts\r\n\r\n"
             "Step 2: Submerge sensor in WATER. Starting in 10 seconds...\r\n",
             air_avg);
    HAL_UART_Transmit(&huart2, (uint8_t*)msg, strlen(msg), 100);
    HAL_Delay(10000);

    snprintf(msg, sizeof(msg),
             "Recording WATER values for 10 seconds...\r\n");
    HAL_UART_Transmit(&huart2, (uint8_t*)msg, strlen(msg), 100);

    uint32_t water_sum = 0, water_n = 0;
    start = HAL_GetTick();
    while ((HAL_GetTick() - start) < 10000) {
        water_sum += Read_Moisture();
        water_n++;
        HAL_Delay(50);
    }
    uint16_t water_avg = (uint16_t)(water_sum / water_n);

    snprintf(msg, sizeof(msg),
             "WATER average: %u counts\r\n\r\n"
             "=== Calibration Results ===\r\n"
             "MOISTURE_AIR_VALUE = %u\r\n"
             "MOISTURE_WATER_VALUE = %u\r\n"
             "Update these defines and rebuild.\r\n\r\n",
             water_avg, air_avg, water_avg);
    HAL_UART_Transmit(&huart2, (uint8_t*)msg, strlen(msg), 100);
}

void track_mpp_20_seconds(uint8_t start_duty)
{
    char msg[240];

    if (start_duty > MPPT_DUTY_MAX) {
        start_duty = MPPT_DUTY_MAX;
    }
    if (start_duty < MPPT_DUTY_MIN) {
        start_duty = MPPT_DUTY_MIN;
    }

    /*
     * Reset MPPT state.
     */
    mppt_duty = start_duty;
    mppt_direction = 1;
    mppt_prev_power = 0.0f;
    mppt_prev_voltage = 0.0f;
    mppt_prev_current = 0.0f;
    mppt_initialized = 0;

    /*
     * Keep pump off during MPPT tracking test unless you specifically want
     * to test MPPT + pump operation together.
     */
    Set_Pump_Speed(PUMP_OFF);

    /*
     * Apply initial duty.
     */
    Set_Converter_Duty(mppt_duty);

    snprintf(msg, sizeof(msg),
             "\r\n=== Starting 20s MPPT Tracking Test ===\r\n"
             "Start duty: %u%%\r\n"
             "Duration: %lu ms\r\n\r\n",
             (unsigned int)mppt_duty,
             (unsigned long)MPPT_TRACK_DURATION_MS);
    HAL_UART_Transmit(&huart2, (uint8_t*)msg, strlen(msg), 100);

    snprintf(msg, sizeof(msg),
             "Time_ms,Duty_percent,Vpanel_V,Ipanel_A,Ppanel_W,Direction,NextDuty_percent,Samples\r\n");
    HAL_UART_Transmit(&huart2, (uint8_t*)msg, strlen(msg), 100);

    /*
     * Allow converter/panel to settle at starting duty.
     */
    HAL_Delay(MPPT_TRACK_SETTLE_MS);

    /*
     * Clear ADC accumulators before test starts.
     */
    __disable_irq();
    v_sum = 0;
    i_sum = 0;
    sample_count = 0;
    __enable_irq();

    uint32_t test_start = HAL_GetTick();

    float best_power = -1000000.0f;
    float best_voltage = 0.0f;
    float best_current = 0.0f;
    uint8_t best_duty = mppt_duty;
    uint32_t best_time_ms = 0;

    float final_v_sum = 0.0f;
    float final_i_sum = 0.0f;
    float final_p_sum = 0.0f;
    float final_d_sum = 0.0f;
    uint32_t final_count = 0;

    while ((HAL_GetTick() - test_start) < MPPT_TRACK_DURATION_MS)
    {
        HAL_Delay(MPPT_UPDATE_TIME_MS);

        float panel_voltage = 0.0f;
        float panel_current = 0.0f;
        float panel_power = 0.0f;
        uint32_t sample_n = 0;

        uint8_t duty_measured = mppt_duty;

        Read_Panel_Sensors(&panel_voltage,
                           &panel_current,
                           &panel_power,
                           NULL,
                           &sample_n);

        if (sample_n == 0)
        {
            continue;
        }

        uint32_t elapsed_ms = HAL_GetTick() - test_start;

        /*
         * Track best instantaneous power point during the test.
         */
        if (panel_power > best_power)
        {
            best_power = panel_power;
            best_voltage = panel_voltage;
            best_current = panel_current;
            best_duty = duty_measured;
            best_time_ms = elapsed_ms;
        }

        /*
         * P&O MPPT update.
         */
        if (!mppt_initialized)
        {
            mppt_prev_power = panel_power;
            mppt_prev_voltage = panel_voltage;
            mppt_prev_current = panel_current;
            mppt_initialized = 1;
        }
        else
        {
            float delta_p = panel_power - mppt_prev_power;

            if (delta_p > MPPT_POWER_DEADBAND_W)
            {
                /*
                 * Power increased: keep same perturb direction.
                 */
            }
            else if (delta_p < -MPPT_POWER_DEADBAND_W)
            {
                /*
                 * Power decreased: reverse perturb direction.
                 */
                mppt_direction = -mppt_direction;
            }
            else
            {
                /*
                 * Power change is small: likely noise. Keep direction unchanged.
                 */
            }

            mppt_prev_power = panel_power;
            mppt_prev_voltage = panel_voltage;
            mppt_prev_current = panel_current;
        }

        int16_t next_duty = (int16_t)mppt_duty +
                            ((int16_t)mppt_direction * (int16_t)MPPT_DUTY_STEP);

        if (next_duty > MPPT_DUTY_MAX)
        {
            next_duty = MPPT_DUTY_MAX;
            mppt_direction = -1;
        }
        else if (next_duty < MPPT_DUTY_MIN)
        {
            next_duty = MPPT_DUTY_MIN;
            mppt_direction = 1;
        }

        /*
         * Print measured operating point before applying next duty.
         */
        snprintf(msg, sizeof(msg),
                 "%lu,%u,%.3f,%.4f,%.4f,%d,%u,%lu\r\n",
                 (unsigned long)elapsed_ms,
                 (unsigned int)duty_measured,
                 panel_voltage,
                 panel_current,
                 panel_power,
                 (int)mppt_direction,
                 (unsigned int)next_duty,
                 (unsigned long)sample_n);
        HAL_UART_Transmit(&huart2, (uint8_t*)msg, strlen(msg), 100);

        /*
         * Average final window, usually the final 5 seconds.
         * This is the best way to report the converged MPPT value.
         */
        if (elapsed_ms >= (MPPT_TRACK_DURATION_MS - MPPT_FINAL_AVG_WINDOW_MS))
        {
            final_v_sum += panel_voltage;
            final_i_sum += panel_current;
            final_p_sum += panel_power;
            final_d_sum += (float)duty_measured;
            final_count++;
        }

        /*
         * Apply next duty for the next MPPT sample.
         */
        mppt_duty = (uint8_t)next_duty;
        Set_Converter_Duty(mppt_duty);
    }

    snprintf(msg, sizeof(msg),
             "\r\n=== MPPT Tracking Test Complete ===\r\n");
    HAL_UART_Transmit(&huart2, (uint8_t*)msg, strlen(msg), 100);

    snprintf(msg, sizeof(msg),
             "Best point: t=%lu ms, D=%u%%, V=%.3f V, I=%.4f A, P=%.4f W\r\n",
             (unsigned long)best_time_ms,
             (unsigned int)best_duty,
             best_voltage,
             best_current,
             best_power);
    HAL_UART_Transmit(&huart2, (uint8_t*)msg, strlen(msg), 100);

    if (final_count > 0)
    {
        float avg_v = final_v_sum / (float)final_count;
        float avg_i = final_i_sum / (float)final_count;
        float avg_p = final_p_sum / (float)final_count;
        float avg_d = final_d_sum / (float)final_count;

        snprintf(msg, sizeof(msg),
                 "Final %lu ms average: D=%.2f%%, V=%.3f V, I=%.4f A, P=%.4f W, points=%lu\r\n\r\n",
                 (unsigned long)MPPT_FINAL_AVG_WINDOW_MS,
                 avg_d,
                 avg_v,
                 avg_i,
                 avg_p,
                 (unsigned long)final_count);
        HAL_UART_Transmit(&huart2, (uint8_t*)msg, strlen(msg), 100);
    }
    else
    {
        snprintf(msg, sizeof(msg),
                 "Final average unavailable: no samples collected in final window.\r\n\r\n");
        HAL_UART_Transmit(&huart2, (uint8_t*)msg, strlen(msg), 100);
    }
}

void HAL_ADC_ConvHalfCpltCallback(ADC_HandleTypeDef* hadc)
{
    if (hadc->Instance == ADC1)
    {
        Process_ADC_Buffer(&adc_buffer[0], ADC_BUF_LEN / 2);
    }
}

void HAL_ADC_ConvCpltCallback(ADC_HandleTypeDef* hadc)
{
    if (hadc->Instance == ADC1)
    {
        Process_ADC_Buffer(&adc_buffer[ADC_BUF_LEN / 2], ADC_BUF_LEN / 2);
    }
}
/* USER CODE END 4 */

void Error_Handler(void)
{
  __disable_irq();
  while (1)
  {
  }
}
